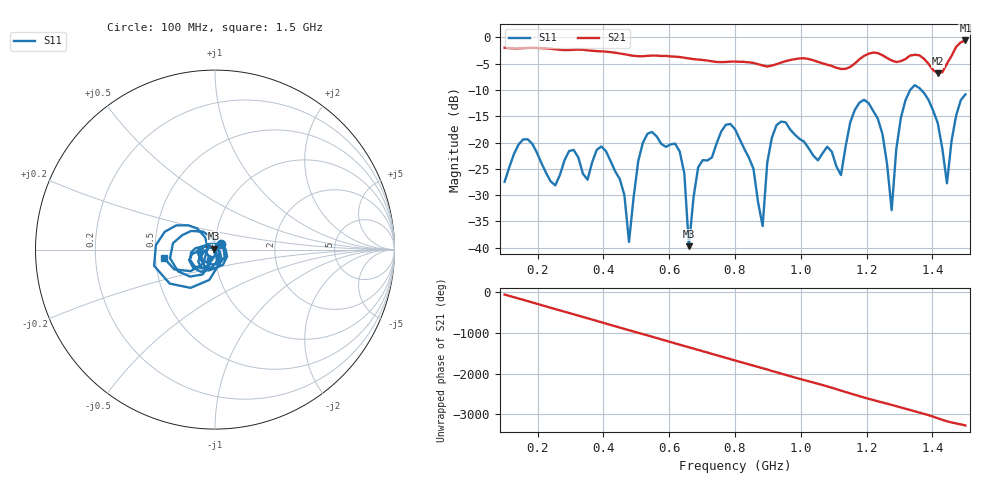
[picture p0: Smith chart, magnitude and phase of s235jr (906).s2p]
! NanoVNA-App
! Date: 2025-09-25 15:11:13
! Start: 100MHz Stop: 1,5GHz Points: 101
! S-Parameter data: F S11 S21 S12 S22
# Hz S RI R 50
!  Frequency  S11_Real  S11_Imag  S21_Real  S21_Imag  S12_Real  S12_Imag  S22_Real  S22_Imag
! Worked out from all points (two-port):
!   101 points, 100 MHz to 1.5 GHz, reference 50 ohm
!   highest |S21| = -0.58 dB at 1.5 GHz (marker M1); lowest = -6.8 dB at 1.416 GHz (marker M2)
!   |S21| within 3 dB of the highest: start of sweep to 513.2 MHz; 521 MHz to 598.5 MHz (77.49 MHz wide, 13.8 % of centre) (the widest 2 of 5)
!   lowest |S11| = -39.7 dB at 660 MHz (marker M3), VSWR 1.02, Z = 49.2 + j0.597 ohm
!   |S11| at or under -10 dB: start of sweep to 1.332 GHz; 1.366 GHz to end of sweep
!   S12 and S22 are empty: the file has one direction only
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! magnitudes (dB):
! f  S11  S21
! 100 MHz  -27.5  -2.0
! 156 MHz  -19.4  -2.0
! 338 MHz  -25.9  -2.4
! 408 MHz  -21.6  -2.7
! 478 MHz  -38.9  -3.4
! 520 MHz  -20.1  -3.6
! 576 MHz  -20.2  -3.5
! 632 MHz  -21.7  -3.7
! 660 MHz  -39.7  -4.0
! 688 MHz  -24.7  -4.2
! 800 MHz  -17.5  -4.6
! 884 MHz  -35.9  -5.3
! 926 MHz  -16.7  -5.1
! 1.038 GHz  -22.5  -4.4
! 1.122 GHz  -26.2  -6.0
! 1.192 GHz  -11.9  -3.5
! 1.248 GHz  -18.4  -3.4
! 1.276 GHz  -32.9  -4.4
! 1.332 GHz  -10.0  -3.5
! 1.416 GHz  -16.3  -6.8
! 1.444 GHz  -27.8  -5.0
! 1.5 GHz  -10.8  -0.6
